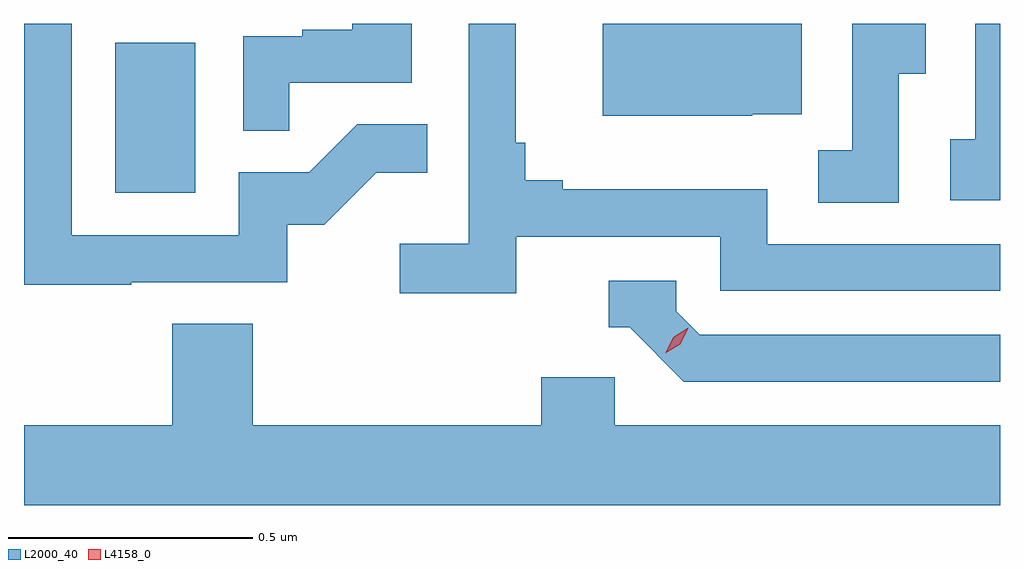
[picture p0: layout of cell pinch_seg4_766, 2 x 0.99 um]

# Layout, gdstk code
import gdstk
lib = gdstk.Library(unit=1e-6, precision=1e-09)
def R(c, l, rs):  # rectangles x0, y0, x1, y1
    for r in rs: c.add(gdstk.rectangle(r[:2], r[2:], *l))
def P(c, l, *ps):  # polygons
    for p in ps: c.add(gdstk.Polygon(p, *l))
L2000_40 = (2000, 40)
L4158_0 = (4158, 0)

pinch_seg4_766 = lib.new_cell('pinch_seg4_766')
R(pinch_seg4_766, L2000_40, [(866.174,816.108,866.338,816.415)])
P(pinch_seg4_766, L2000_40, [(866.996,816.018),(867.414,816.018),(867.414,815.907),(867.987,815.907),(867.987,816.003),(867.51,816.003),(867.51,816.115),(867.091,816.115),(867.091,816.134),(867.014,816.134),(867.014,816.211),(866.995,816.211),(866.995,816.454),(866.898,816.454),(866.898,816.004),(866.757,816.004),(866.757,815.902),(866.996,815.902)],
  [(867.78,816.352),(867.835,816.352),(867.835,816.454),(867.684,816.454),(867.684,816.195),(867.615,816.195),(867.615,816.088),(867.78,816.088)],
  [(867.987,816.454),(867.936,816.454),(867.936,816.218),(867.885,816.218),(867.885,816.093),(867.987,816.093)],
  [(866.531,816.333),(866.782,816.333),(866.782,816.454),(866.66,816.454),(866.66,816.442),(866.557,816.442),(866.557,816.429),(866.436,816.429),(866.436,816.235),(866.531,816.235)],
  [(866.207,815.925),(866.526,815.925),(866.526,816.042),(866.602,816.042),(866.709,816.149),(866.813,816.149),(866.813,816.248),(866.67,816.248),(866.572,816.15),(866.427,816.15),(866.427,816.021),(866.085,816.021),(866.085,816.454),(865.987,816.454),(865.987,815.92),(866.207,815.92)],
  [(867.479,816.269),(867.581,816.269),(867.581,816.454),(867.173,816.454),(867.173,816.266),(867.479,816.266)],
  [(867.987,815.817),(867.372,815.817),(867.324,815.865),(867.324,815.928),(867.185,815.928),(867.185,815.832),(867.228,815.832),(867.339,815.721),(867.987,815.721)],
  [(867.987,815.632),(867.198,815.632),(867.198,815.73),(867.047,815.73),(867.047,815.632),(866.456,815.632),(866.456,815.84),(866.291,815.84),(866.291,815.632),(865.987,815.632),(865.987,815.468),(867.987,815.468)])
P(pinch_seg4_766, L4158_0, [(867.301,815.779),(867.301,815.779),(867.317,815.812),(867.348,815.831),(867.348,815.831),(867.348,815.83),(867.332,815.798),(867.301,815.779)])

lib.write_gds('pinch_seg4_766.gds')
